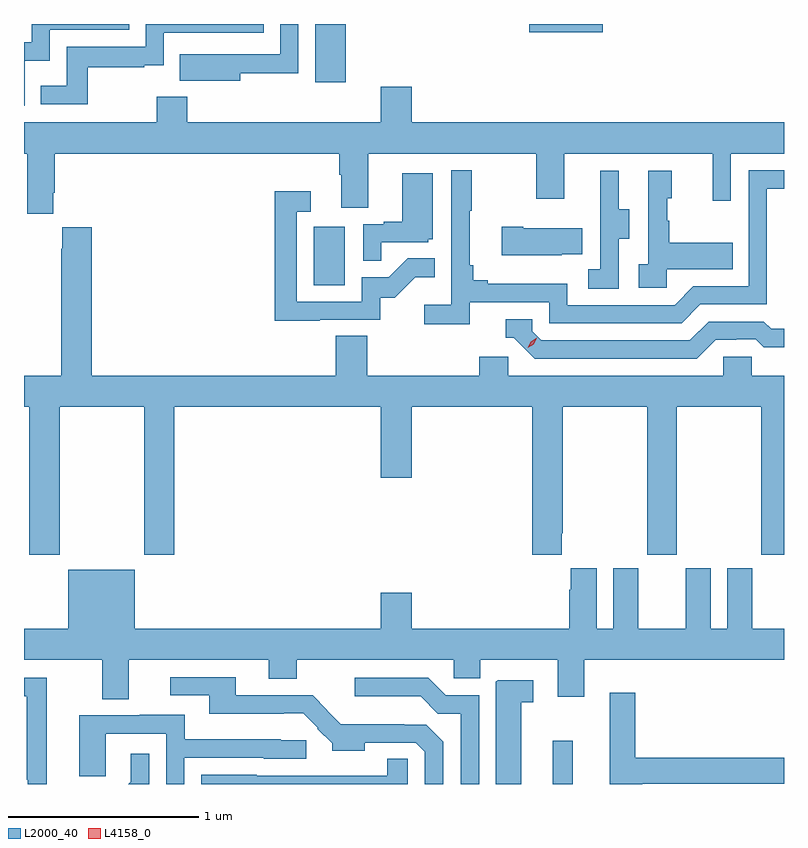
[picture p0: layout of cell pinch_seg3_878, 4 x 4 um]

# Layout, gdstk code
import gdstk
lib = gdstk.Library(unit=1e-6, precision=1e-09)
def R(c, l, rs):  # rectangles x0, y0, x1, y1
    for r in rs: c.add(gdstk.rectangle(r[:2], r[2:], *l))
def P(c, l, *ps):  # polygons
    for p in ps: c.add(gdstk.Polygon(p, *l))
L2000_40 = (2000, 40)
L4158_0 = (4158, 0)

pinch_seg3_878 = lib.new_cell('pinch_seg3_878')
R(pinch_seg3_878, L2000_40, [(825.254,704.258,825.358,704.485), (823.994,706.884,824.158,707.191), (824.003,707.952,824.164,708.258)])
P(pinch_seg3_878, L2000_40, [(825.517,708.258),(824.56,708.258),(824.56,708.256),(825.128,708.256),(825.128,708.214),(825.517,708.214)],
  [(822.805,708.03),(823.103,708.03),(823.103,708.041),(823.206,708.041),(823.206,708.213),(823.732,708.213),(823.732,708.258),(823.11,708.258),(823.11,708.138),(822.694,708.138),(822.694,707.932),(822.559,707.932),(822.559,707.835),(822.805,707.835)],
  [(823.609,707.998),(823.914,707.998),(823.914,708.258),(823.818,708.258),(823.818,708.099),(823.505,708.099),(823.505,708.1),(823.291,708.1),(823.291,707.96),(823.609,707.96)],
  [(822.474,708.065),(822.606,708.065),(822.606,708.228),(823.025,708.228),(823.025,708.258),(822.51,708.258),(822.51,708.163),(822.47,708.163),(822.47,707.829),(822.474,707.829)],
  [(822.47,707.576),(822.488,707.576),(822.488,707.259),(822.625,707.259),(822.625,707.371),(822.632,707.371),(822.632,707.576),(824.129,707.576),(824.129,707.464),(824.141,707.464),(824.141,707.29),(824.281,707.29),(824.281,707.576),(825.166,707.576),(825.166,707.337),(825.313,707.337),(825.313,707.576),(826.094,707.576),(826.094,707.328),(826.191,707.328),(826.191,707.576),(826.47,707.576),(826.47,707.74),(824.512,707.74),(824.512,707.929),(824.348,707.929),(824.348,707.74),(823.328,707.74),(823.328,707.875),(823.168,707.875),(823.168,707.74),(822.47,707.74)],
  [(824.816,706.794),(825.234,706.794),(825.234,706.683),(825.931,706.683),(826.03,706.782),(826.38,706.782),(826.38,707.391),(826.47,707.391),(826.47,707.487),(826.284,707.487),(826.284,706.878),(825.993,706.878),(825.894,706.779),(825.33,706.779),(825.33,706.891),(824.911,706.891),(824.911,706.91),(824.834,706.91),(824.834,706.987),(824.815,706.987),(824.815,707.275),(824.827,707.275),(824.827,707.488),(824.718,707.488),(824.718,706.78),(824.577,706.78),(824.577,706.678),(824.816,706.678)],
  [(825.6,707.128),(825.655,707.128),(825.655,707.283),(825.601,707.283),(825.601,707.485),(825.503,707.485),(825.503,707.271),(825.504,707.271),(825.504,706.967),(825.441,706.967),(825.441,706.864),(825.6,706.864)],
  [(825.852,706.967),(826.199,706.967),(826.199,707.107),(825.865,707.107),(825.865,707.222),(825.855,707.222),(825.855,707.34),(825.88,707.34),(825.88,707.485),(825.756,707.485),(825.756,706.994),(825.705,706.994),(825.705,706.869),(825.852,706.869)],
  [(824.351,707.109),(824.598,707.109),(824.598,707.124),(824.62,707.124),(824.62,707.473),(824.462,707.473),(824.462,707.218),(824.363,707.218),(824.363,707.205),(824.256,707.205),(824.256,707.011),(824.351,707.011)],
  [(824.027,706.701),(824.346,706.701),(824.346,706.818),(824.422,706.818),(824.529,706.925),(824.633,706.925),(824.633,707.024),(824.489,707.024),(824.391,706.926),(824.247,706.926),(824.247,706.797),(823.905,706.797),(823.905,707.271),(823.978,707.271),(823.978,707.377),(823.789,707.377),(823.789,706.696),(824.027,706.696)],
  [(825.299,707.045),(825.407,707.045),(825.407,707.182),(825.097,707.182),(825.097,707.19),(824.985,707.19),(824.985,707.042),(825.299,707.042)],
  [(822.657,706.244),(823.102,706.244),(823.102,705.465),(823.262,705.465),(823.262,706.244),(824.348,706.244),(824.348,705.87),(824.512,705.87),(824.512,706.244),(825.146,706.244),(825.146,705.465),(825.301,705.465),(825.301,705.577),(825.306,705.577),(825.306,706.244),(825.751,706.244),(825.751,705.465),(825.906,705.465),(825.906,706.244),(826.351,706.244),(826.351,705.465),(826.47,705.465),(826.47,706.408),(826.299,706.408),(826.299,706.506),(826.149,706.506),(826.149,706.408),(825.018,706.408),(825.018,706.506),(824.867,706.506),(824.867,706.408),(824.276,706.408),(824.276,706.616),(824.111,706.616),(824.111,706.408),(822.827,706.408),(822.827,707.188),(822.671,707.188),(822.671,707.075),(822.667,707.075),(822.667,706.408),(822.47,706.408),(822.47,706.244),(822.497,706.244),(822.497,705.465),(822.657,705.465)],
  [(826.111,706.596),(826.218,706.596),(826.218,706.599),(826.321,706.599),(826.363,706.557),(826.47,706.557),(826.47,706.653),(826.402,706.653),(826.363,706.692),(826.074,706.692),(825.975,706.593),(825.192,706.593),(825.144,706.641),(825.144,706.704),(825.005,706.704),(825.005,706.608),(825.048,706.608),(825.159,706.497),(826.012,706.497)],
  [(824.733,704.814),(824.872,704.814),(824.872,704.912),(825.278,704.912),(825.278,704.718),(825.418,704.718),(825.418,704.912),(826.47,704.912),(826.47,705.076),(826.303,705.076),(826.303,705.394),(826.172,705.394),(826.172,705.076),(826.084,705.076),(826.084,705.394),(825.953,705.394),(825.953,705.076),(825.703,705.076),(825.703,705.394),(825.572,705.394),(825.572,705.076),(825.484,705.076),(825.484,705.394),(825.347,705.394),(825.347,705.281),(825.341,705.281),(825.341,705.076),(824.512,705.076),(824.512,705.265),(824.348,705.265),(824.348,705.076),(823.054,705.076),(823.054,705.385),(822.704,705.385),(822.704,705.076),(822.47,705.076),(822.47,704.912),(822.881,704.912),(822.881,704.704),(823.021,704.704),(823.021,704.912),(823.757,704.912),(823.757,704.813),(823.905,704.813),(823.905,704.912),(824.733,704.912)],
  [(824.676,704.481),(824.587,704.57),(824.471,704.57),(824.471,704.572),(824.137,704.572),(824.063,704.645),(824.065,704.647),(823.989,704.724),(823.585,704.724),(823.585,704.82),(823.239,704.82),(823.239,704.724),(823.445,704.724),(823.445,704.627),(823.838,704.627),(823.838,704.63),(823.94,704.63),(824.016,704.553),(824.013,704.55),(824.092,704.472),(824.092,704.432),(824.263,704.432),(824.263,704.475),(824.532,704.475),(824.58,704.427),(824.58,704.258),(824.676,704.258)],
  [(824.865,704.724),(824.691,704.724),(824.598,704.817),(824.211,704.817),(824.211,704.72),(824.557,704.72),(824.648,704.629),(824.769,704.629),(824.769,704.258),(824.865,704.258)],
  [(822.589,704.817),(822.47,704.817),(822.47,704.721),(822.485,704.721),(822.485,704.281),(822.489,704.281),(822.489,704.258),(822.589,704.258)],
  [(825.088,704.689),(825.151,704.689),(825.151,704.805),(824.964,704.805),(824.954,704.795),(824.954,704.258),(825.088,704.258)],
  [(825.725,704.26),(826.47,704.26),(826.47,704.396),(825.686,704.396),(825.686,704.737),(825.554,704.737),(825.554,704.258),(825.725,704.258)],
  [(823.314,704.397),(823.731,704.397),(823.731,704.391),(823.956,704.391),(823.956,704.487),(823.821,704.487),(823.821,704.494),(823.315,704.494),(823.315,704.623),(823.079,704.623),(823.079,704.619),(822.761,704.619),(822.761,704.299),(822.9,704.299),(822.9,704.523),(823.218,704.523),(823.218,704.258),(823.314,704.258)],
  [(823.128,704.416),(823.031,704.416),(823.031,704.271),(823.018,704.258),(823.128,704.258)],
  [(824.49,704.39),(824.382,704.39),(824.382,704.302),(824.127,704.302),(824.127,704.301),(823.695,704.301),(823.695,704.308),(823.404,704.308),(823.404,704.258),(824.49,704.258)])
P(pinch_seg3_878, L4158_0, [(825.122,706.554),(825.122,706.554),(825.138,706.586),(825.169,706.606),(825.169,706.606),(825.169,706.606),(825.153,706.573),(825.122,706.554)])

lib.write_gds('pinch_seg3_878.gds')
